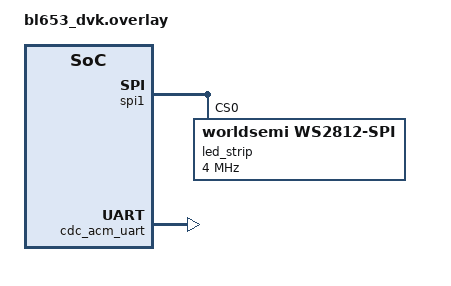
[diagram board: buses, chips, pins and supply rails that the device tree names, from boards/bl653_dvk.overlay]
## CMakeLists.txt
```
cmake_minimum_required(VERSION 3.20.0)
find_package(Zephyr REQUIRED HINTS $ENV{ZEPHYR_BASE})
project(adalight_rgb)

target_sources(app PRIVATE src/main.c)
```

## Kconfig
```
menu "Adalight RGB configuration"

config USB_DEVICE_PID
	default 0x0001

module = ADALIGHT_RGB
module-str = ADALIGHT_RGB
source "subsys/logging/Kconfig.template.log_config"

endmenu

source "Kconfig.zephyr"
```

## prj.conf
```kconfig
CONFIG_USB_DEVICE_STACK=y
CONFIG_USB_DEVICE_PRODUCT="Adalight Clone"
CONFIG_USB_CDC_ACM=y
CONFIG_SERIAL=y
CONFIG_UART_INTERRUPT_DRIVEN=y
CONFIG_LED_STRIP=y
CONFIG_WS2812_STRIP=y
CONFIG_BOOTLOADER_MCUBOOT=y
CONFIG_HEAP_MEM_POOL_SIZE=2048
CONFIG_USB_DEVICE_REMOTE_WAKEUP=n
CONFIG_BOOT_BANNER=n
CONFIG_PRINTK=n
CONFIG_EARLY_CONSOLE=n
```

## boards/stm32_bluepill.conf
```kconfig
CONFIG_SPI=y
CONFIG_UART_STM32=n
CONFIG_BOOTLOADER_MCUBOOT=n
CONFIG_SPEED_OPTIMIZATIONS=y
```

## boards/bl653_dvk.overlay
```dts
/*
 * Copyright (c) 2019, Nordic Semiconductor ASA
 * Copyright (c) 2022, thedjnK
 *
 * SPDX-License-Identifier: Apache-2.0
 */
#include <dt-bindings/led/led.h>

/*
 * At 4 MHz, 1 bit is 250 ns, so 3 bits is 750 ns.
 *
 * That's cutting it a bit close to the edge of the timing parameters,
 * but it seems to work on AdaFruit LED rings.
 */
#define SPI_FREQ    4000000
#define ZERO_FRAME  0x40
#define ONE_FRAME   0x70

&spi1 {
	compatible = "nordic,nrf-spim";
	led_strip: ws2812@0 {
		compatible = "worldsemi,ws2812-spi";
		reg = <0>;
		spi-max-frequency = <SPI_FREQ>;

		/* WS2812 */
		chain-length = <32>;
		color-mapping = <LED_COLOR_ID_GREEN
				 LED_COLOR_ID_RED
				 LED_COLOR_ID_BLUE>;
		spi-one-frame = <ONE_FRAME>;
		spi-zero-frame = <ZERO_FRAME>;
	};
};

&usbd {
        cdc_acm_uart: cdc_acm_uart {
                compatible = "zephyr,cdc-acm-uart";
        };
};

/ {
	aliases {
		led-strip = &led_strip;
		usb-cdc = &cdc_acm_uart;
	};
};
```

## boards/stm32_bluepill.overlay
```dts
/*
 * Copyright (c) 2022, thedjnK
 *
 * SPDX-License-Identifier: Apache-2.0
 */
#include <dt-bindings/led/led.h>

&spi2 {
	led_strip: ws2812@0 {
		compatible = "worldsemi,ws2812-spi";
		reg = <0>;
		spi-max-frequency = <4000000>;

		/* WS2812 */
		chain-length = <42>;
		spi-one-frame = <0x70>;
		spi-zero-frame = <0x40>;
		reset-delay = <50>;

		color-mapping = <LED_COLOR_ID_GREEN
				 LED_COLOR_ID_RED
				 LED_COLOR_ID_BLUE>;
	};
};

/ {
	aliases {
		led-strip = &led_strip;
	};
};
```

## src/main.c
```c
/*
 * Copyright (c) 2022, thedjnK
 *
 * SPDX-License-Identifier: Apache-2.0
 */

#include <zephyr/kernel.h>
#include <stdio.h>
#include <string.h>
#include <zephyr/device.h>
#include <zephyr/sys/ring_buffer.h>
#include <zephyr/drivers/uart.h>
#include <zephyr/drivers/led_strip.h>
#include <zephyr/usb/usb_device.h>
#include <zephyr/logging/log.h>

LOG_MODULE_REGISTER(adalight_rgb, CONFIG_ADALIGHT_RGB_LOG_LEVEL);

/* USB CDC device setup */
#define USB_CDC_NODE		DT_ALIAS(usb_cdc)

/* LED strip device setup */
#define LED_STRIP_NODE		DT_ALIAS(led_strip)
#define LED_STRIP_PIXELS	DT_PROP(LED_STRIP_NODE, chain_length)

/* 3 bytes per LED, 6 bytes header, allow enough for 6 messages in ring buffer and 2 messages for processing */
#define HEADER_SIZE 6
#define COLOURS_PER_LED 3
#define BUFFER_SIZE ((COLOURS_PER_LED * LED_STRIP_PIXELS) + HEADER_SIZE)
#define RING_BUF_SIZE (BUFFER_SIZE * 6)
#define DATA_BUF_SIZE (BUFFER_SIZE * 2)

#if !DT_NODE_HAS_STATUS(USB_CDC_NODE, okay)
#error "Missing usb_cdc alias"
#endif

#if !DT_NODE_HAS_STATUS(LED_STRIP_NODE, okay)
#error "Missing led_strip alias"
#endif

static uint8_t ring_buffer[RING_BUF_SIZE];
static struct ring_buf ringbuf;
static struct led_rgb pixels[LED_STRIP_PIXELS];
static const struct device *led_strip = DEVICE_DT_GET(LED_STRIP_NODE);

static void interrupt_handler(const struct device *dev, void *user_data)
{
	ARG_UNUSED(user_data);

	while (uart_irq_update(dev) && uart_irq_is_pending(dev)) {
		if (uart_irq_rx_ready(dev)) {
			int recv_len, rb_len;
			uint8_t buffer[DATA_BUF_SIZE];
			size_t len = MIN(ring_buf_space_get(&ringbuf), sizeof(buffer));

			recv_len = uart_fifo_read(dev, buffer, len);

			rb_len = ring_buf_put(&ringbuf, buffer, recv_len);

			if (rb_len < recv_len) {
				LOG_ERR("Drop %u bytes", recv_len - rb_len);
			}

			if (rb_len >= 1 && ring_buf_size_get(&ringbuf) > HEADER_SIZE) {
				uint8_t i = 0;
				struct led_rgb colour;

				/* Check received data and search for 'Ada' header */
				rb_len = ring_buf_peek(&ringbuf, buffer, sizeof(buffer));


				while (i < rb_len && (buffer[i] != 'A' || buffer[i+1] != 'd' || buffer[i+2] != 'a')) {
					++i;
				}

				if ((rb_len - i) <= HEADER_SIZE) {
					/* Insufficient data for a single message, skip */
					continue;
				}

				if (buffer[i] == 'A' && buffer[i+1] == 'd' && buffer[i+2] == 'a' && buffer[i+5] == (buffer[i+3] ^ buffer[i+4] ^ 0x55)) {
					/* Received valid header, check for number of LEDs */
					uint16_t led_count = ((((uint16_t)buffer[i+3]) << 8) | (uint16_t)buffer[i+4]) + 1;

					if ((rb_len - i) < (led_count * COLOURS_PER_LED) + HEADER_SIZE) {
						/* Need next USB message for full LED data */
						continue;
					}

					if (led_count > LED_STRIP_PIXELS) {
						led_count = LED_STRIP_PIXELS;
					}

					rb_len = ring_buf_get(&ringbuf, buffer, sizeof(buffer));

					/* We have the required data */
//					memset(&pixels, 0x00, (sizeof(pixels) / sizeof(pixels[0]) * led_count));
//					memset(&pixels, 0x00, (sizeof(pixels) / sizeof(pixels[0])));
					memset(&pixels, 0x00, sizeof(pixels));

					/* Move to start of data */
					i += HEADER_SIZE;
					uint8_t pos = 0;

					while (pos < led_count) {
						colour.r = buffer[i];
						colour.g = buffer[i+1];
						colour.b = buffer[i+2];
						memcpy(&pixels[pos], &colour, sizeof(struct led_rgb));
						i += 3;
						++pos;
					}

					int rc = led_strip_update_rgb(led_strip, pixels, led_count);

					if (rc != 0) {
						LOG_ERR("Update failed: %d", rc);
					}
				} else {
					if (buffer[i] == 'A' && buffer[i+1] == 'd' && buffer[i+2] == 'a' && buffer[i+5] != (buffer[i+3] ^ buffer[i+4] ^ 0x55)) {
						LOG_ERR("Invalid checksum: %02x, expected: %02x", buffer[i+5], (buffer[i+3] ^ buffer[i+4] ^ 0x55));
						rb_len = ring_buf_get(&ringbuf, buffer, 3);
					} else {
						LOG_ERR("Invalid data: %02x%02x%02x", buffer[i], buffer[i+1], buffer[i+2]);
					}
				}
			}
		}
	}
}

int main(void)
{
	int ret;
	const struct device *usb_cdc = DEVICE_DT_GET(USB_CDC_NODE);

	if (!device_is_ready(usb_cdc)) {
		LOG_ERR("CDC ACM device is not ready");
		return 0;
	}

	ret = usb_enable(NULL);

	if (ret != 0) {
		LOG_ERR("Failed to enable USB");
		return 0;
	}

	ring_buf_init(&ringbuf, sizeof(ring_buffer), ring_buffer);

	/* Delay a short time for USB setup to complete */
	k_busy_wait(500000);

	uart_irq_callback_set(usb_cdc, interrupt_handler);
	uart_irq_rx_enable(usb_cdc);

	return 0;
}
```
